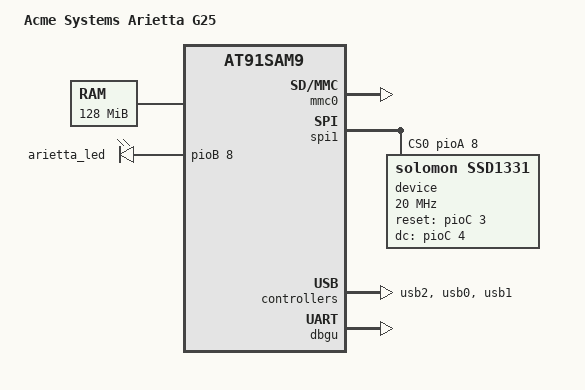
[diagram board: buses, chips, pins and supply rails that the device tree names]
/*
 * acme-arietta.dts - Device Tree file for Arietta G25
 * Copyright (C) 2014 Sergio Tanzilli <sergio@tanzilli.com>
 *
 * Licensed under GPLv2 or later.
 */
/dts-v1/;
#include "at91sam9g25.dtsi"
/ {
	model = "Acme Systems Arietta G25";
	compatible = "acme,ariettag25", "atmel,at91sam9x5ek","atmel,at91sam9x5", "atmel,at91sam9";
	aliases {
		serial0 = &dbgu;
		serial1 = &usart0;
		serial2 = &usart1;
		serial3 = &usart2;
		serial4 = &usart3;
		serial5 = &uart0;
		serial6 = &uart1;
	};

	chosen {
		bootargs = "console=ttyS0,115200 root=/dev/mmcblk0p2 rw rootwait";
	};

	memory {
		reg = <0x20000000 0x8000000>;
	};

	clocks {
		#address-cells = <1>;
		#size-cells = <1>;
		ranges;
		main_clock: clock@0 {
			compatible = "atmel,osc", "fixed-clock";
			clock-frequency = <12000000>;
		};

		slow_xtal {
			clock-frequency = <32768>;
		};

		main_xtal {
			clock-frequency = <12000000>;
		};
	};

	ahb {
		apb {
			mmc0: mmc@f0008000 {
				pinctrl-0 = <
				  &pinctrl_mmc0_slot0_clk_cmd_dat0
				  &pinctrl_mmc0_slot0_dat1_3>;
				status = "okay";
				slot@0 {
					reg = <0>;
					bus-width = <4>;
				};
			};
			i2c0: i2c@f8010000 {
				status ="disabled";
				wm8731: wm8731@1b {
					compatible = "wm8731";
					reg = <0x1b>;
				};
			};
			i2c1: i2c@f8014000 {
				status ="disabled";
			};
			usart0: serial@f801c000 {
				pinctrl-0 = <&pinctrl_usart0>;
				status ="disabled";
			};
			usart1: serial@f8020000 {
				pinctrl-0 = <&pinctrl_usart1 &pinctrl_usart1_rts &pinctrl_usart1_cts>;
				status ="disabled";
			};
			usart2: serial@f8024000 {
				pinctrl-0 = <&pinctrl_usart2>;
				status ="disabled";
			};
			spi1: spi@f0004000 {
				status = "okay";
				cs-gpios = <&pioA 8 0>;

				device@0 {
					fps = <30>;
					compatible = "solomon,ssd1331";
					spi-max-frequency = <20000000>;
					reg = <0>;
					regwidth = <8>;
					buswidth = <8>;
					verbose = <3>;
					reset-gpios = <&pioC 3 0>; /* PC3 - J4.33 */
					dc-gpios = <&pioC 4 0>;    /* PC4 - J4.31 */

					init = <0x10000ae /* Display Off */
						0x10000a0 0x72 /* Set Colour Depth and left to right */
						0x1000072 /* RGB colour */
						0x10000a1 0x00 /* Set Display Start Line */
						0x10000a2 0x00 /* Set Display Offset */
						0x10000a4 /* NORMALDISPLAY */
						0x10000a8 0x3f /* Set multiplex */
						0x10000ad 0x8e /* Set master */
					     /* 0x10000b0 0x0b  Set power mode */
						0x10000b1 0x31 /* Precharge */
						0x10000b3 0xf0 /* Clock div */
						0x100008a 0x64 /* Precharge A */
						0x100008b 0x78 /* Precharge B */
						0x100008c 0x64 /* Precharge C */
						0x10000bb 0x3a /* Precharge level */
						0x10000be 0x3e /* vcomh */
						0x1000087 0x06 /* Master current */
						0x1000081 0x91 /* Contrast A */
						0x1000082 0x50 /* Contrast B */
						0x1000083 0x7d /* Contrast C */
						0x10000af /* Set Sleep Mode Display On */
						>;
				};
			};

			adc0: adc@f804c000 {
				status = "disabled";
				atmel,adc-channels-used = <0xf>;
				atmel,adc-num-channels = <4>;
				compatible = "atmel,at91sam9x5-adc";
				atmel,adc-startup-time = <40>;
				atmel,adc-status-register = <0x1c>;
				atmel,adc-trigger-register = <0x08>;
				atmel,adc-use-external;
				atmel,adc-vref = <3250>;
				atmel,adc-res = <8 10>;
				atmel,adc-res-names = "lowres", "highres";
				atmel,adc-use-res = "highres";
				trigger@0 {
					trigger-name = "continuous";
					trigger-value = <0x6>;
				};
			};

			pinctrl@fffff400 {
				pwm0 {
					pinctrl_pwm0: pwm0-0 {
						atmel,pins =
						< AT91_PIOB 11 AT91_PERIPH_B AT91_PINCTRL_NONE
						  AT91_PIOB 12 AT91_PERIPH_B AT91_PINCTRL_NONE
						  AT91_PIOB 13 AT91_PERIPH_B AT91_PINCTRL_NONE
						  AT91_PIOB 14 AT91_PERIPH_B AT91_PINCTRL_NONE >;
					};
				};
			};
			pwm0: pwm@f8034000 {
				pinctrl-names = "default";
				pinctrl-0 = <&pinctrl_pwm0>;
				status = "disabled";
			};

			ssc0: ssc@f0010000 {
				status = "disabled";
			};
			usb2: gadget@f803c000 {
				status = "okay";
			};
			dbgu: serial@fffff200 {
				status = "okay";
			};
			pinctrl@fffff400 {
			};
			rtc@fffffeb0 {
				status = "okay";
			};
		};
		usb0: ohci@00600000 {
			status = "okay";
			num-ports = <3>;
		};
		usb1: ehci@00700000 {
			status = "okay";
		};
	};
	leds {
		compatible = "gpio-leds";
		arietta_led {
			label = "arietta_led";
			gpios = <&pioB 8 GPIO_ACTIVE_HIGH>; /* PB8 */
			linux,default-trigger = "heartbeat";
		};
	};
	sound {
		compatible = "atmel,sam9x5-wm8731-audio";
		atmel,model = "wm8731 @ AT91SAM9X5EK";
		atmel,audio-routing =
		"Headphone Jack", "RHPOUT",
		"Headphone Jack", "LHPOUT",
		"LLINEIN", "Line In Jack",
		"RLINEIN", "Line In Jack";
		atmel,ssc-controller = <&ssc0>;
		atmel,audio-codec = <&wm8731>;
	};

};
